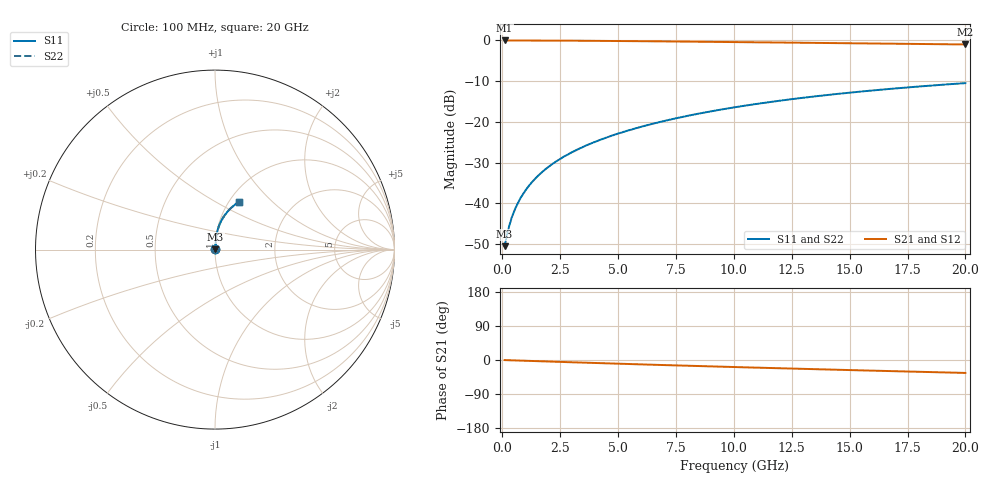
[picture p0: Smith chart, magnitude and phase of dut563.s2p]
! Touchstone file exported from HFSS 2024.1.0
!  File:  C:/UserFiles/LocalFiles/RDL_TSV_Batchsim/temp_RDL_top_563_1779681379.aedt
!  Generated:  11:58:32 AM May 25, 2026
!  Design:  RDL_top
!  Project:  temp_RDL_top_563_1779681379
!  Setup:  Setup1
!  Solution:  Sweep
! Variables:
!  dtsv = 10.80580581um
!  hbump = 3um
!  htsv = 76.19um
!  ldown = 100um
!  lrdl = 505.36um
!  p = 40
!  p1 = 42.02um
!  rhole = 1um
!  t = 450um
!  tdown = 3.915915916um
!  trdl = 3.71um
!  wdown = 15.38538539um
!  wrdl = 20.56um
# GHz S MA R 50.000000
! Terminal data exported
! Port[1] = Box2_T1
! Port[2] = Box2_T2
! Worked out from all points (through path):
!   200 points, 100 MHz to 20 GHz, reference 50 ohm
!   highest |S21| = -0.02 dB at 100 MHz (marker M1); lowest = -1.0 dB at 20 GHz (marker M2)
!   group delay of S21, straight-line fit = 4.7 ps
!   lowest |S11| = -50.5 dB at 100 MHz (marker M3), VSWR 1.01, Z = 50.3 + j0.158 ohm
!   |S11| at or under -10 dB: start of sweep to end of sweep
!   |S22| runs from -50.5 to -10.5 dB; largest |S21 - S12| = 2.7e-15
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0.1  0.002984 31.9  0.9975 -0.2  0.9975 -0.2  0.002984 31.9
! Gamma 0 0 0 0
! Port Impedance 50 0 50 0
0.2  0.004074 49.2  0.9973 -0.4  0.9973 -0.4  0.004074 49.2
0.3  0.005313 58.2  0.9971 -0.6  0.9971 -0.6  0.005313 58.2
0.4  0.00658 63.7  0.997 -0.8  0.997 -0.8  0.00658 63.7
0.5  0.007857 67.5  0.9968 -1.0  0.9968 -1.0  0.007858 67.5
0.6  0.009146 70.3  0.9967 -1.2  0.9967 -1.2  0.009146 70.3
0.8  0.01176 74.3  0.9964 -1.6  0.9964 -1.6  0.01176 74.3
1.1  0.01576 77.9  0.996 -2.2  0.996 -2.2  0.01576 77.9
1.3  0.01847 79.5  0.9956 -2.6  0.9956 -2.6  0.01847 79.5
1.6  0.02257 81.2  0.9951 -3.2  0.9951 -3.2  0.02257 81.2
2.1  0.02951 82.8  0.9938 -4.2  0.9938 -4.2  0.02951 82.8
2.7  0.03798 83.9  0.992 -5.4  0.992 -5.4  0.03797 83.9
3.5  0.04949 84.5  0.9891 -6.9  0.9891 -6.9  0.04949 84.5
4.2  0.05978 84.6  0.986 -8.3  0.986 -8.3  0.05977 84.5
5  0.07178 84.3  0.9822 -9.8  0.9822 -9.8  0.07177 84.3
6.8  0.09957 83.0  0.9724 -13.1  0.9724 -13.1  0.09954 83.0
8.4  0.1249 81.2  0.9629 -15.8  0.9629 -15.8  0.1248 81.1
10.1  0.152 78.8  0.9526 -18.7  0.9526 -18.7  0.152 78.8
11.7  0.1774 76.4  0.9427 -21.4  0.9427 -21.4  0.1773 76.4
13.4  0.2039 73.7  0.9321 -24.1  0.9321 -24.1  0.2038 73.7
16.7  0.2532 68.4  0.9116 -29.2  0.9116 -29.2  0.2531 68.4
20  0.2988 63.2  0.891 -34.1  0.891 -34.1  0.2987 63.2
